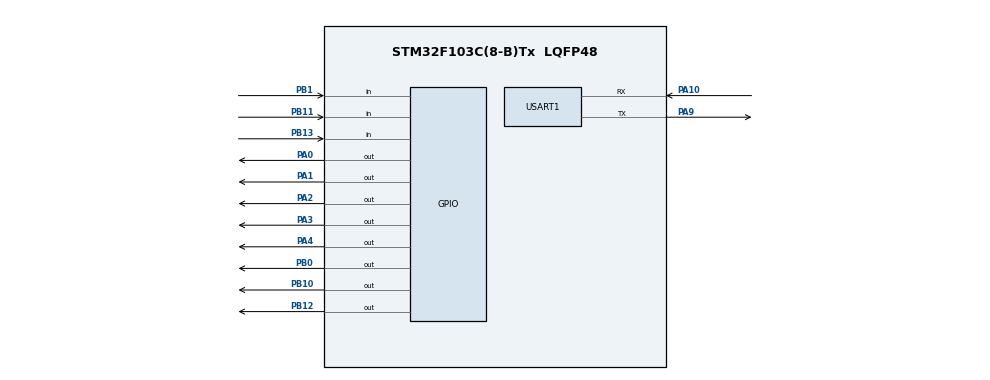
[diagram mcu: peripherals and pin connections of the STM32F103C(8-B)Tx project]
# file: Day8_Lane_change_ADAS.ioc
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Mcu.Family=STM32F1
Mcu.Name=STM32F103C(8-B)Tx
Mcu.Package=LQFP48
NVIC.PriorityGroup=NVIC_PRIORITYGROUP_4
PA0-WKUP.Signal=GPIO_Output
PA1.Signal=GPIO_Output
PA10.Mode=Asynchronous
PA10.Signal=USART1_RX
PA2.Signal=GPIO_Output
PA3.Signal=GPIO_Output
PA4.Signal=GPIO_Output
PA9.Mode=Asynchronous
PA9.Signal=USART1_TX
PB0.Signal=GPIO_Output
PB1.Signal=GPIO_Input
PB10.Signal=GPIO_Output
PB11.Signal=GPIO_Input
PB12.Signal=GPIO_Output
PB13.Signal=GPIO_Input
ProjectManager.HeapSize=0x200
ProjectManager.StackSize=0x400
ProjectManager.TargetToolchain=STM32CubeIDE
RCC.APB1Freq_Value=8000000
RCC.APB2Freq_Value=8000000
TIM2.Prescaler=71
USART1.VirtualMode=VM_ASYNC
VP_SYS_VS_ND.Mode=No_Debug
VP_TIM2_VS_ClockSourceINT.Mode=Internal
board=custom

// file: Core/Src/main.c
/* USER CODE BEGIN Header */
/**
  ******************************************************************************
  * @file           : main.c
  * @brief          : Day8 Lane Change Assist System
  ******************************************************************************
  */
/* USER CODE END Header */

#include "main.h"
#include <stdio.h>
#include <string.h>

TIM_HandleTypeDef htim2;

UART_HandleTypeDef huart1;

/* USER CODE BEGIN PV */

float left_dist;
float right_dist;

char msg[200];

/* USER CODE END PV */

void SystemClock_Config(void);
static void MX_GPIO_Init(void);
static void MX_TIM2_Init(void);
static void MX_USART1_UART_Init(void);

/* USER CODE BEGIN PFP */

float read_distance(GPIO_TypeDef *trigPort,
                    uint16_t trigPin,
                    GPIO_TypeDef *echoPort,
                    uint16_t echoPin);

void delay_us(uint16_t us);

/* USER CODE END PFP */

/* USER CODE BEGIN 0 */

void delay_us(uint16_t us)
{
    __HAL_TIM_SET_COUNTER(&htim2, 0);

    while(__HAL_TIM_GET_COUNTER(&htim2) < us);
}

float read_distance(GPIO_TypeDef *trigPort,
                    uint16_t trigPin,
                    GPIO_TypeDef *echoPort,
                    uint16_t echoPin)
{
    uint32_t time = 0;

    HAL_GPIO_WritePin(trigPort, trigPin, GPIO_PIN_RESET);
    delay_us(2);

    HAL_GPIO_WritePin(trigPort, trigPin, GPIO_PIN_SET);
    delay_us(10);

    HAL_GPIO_WritePin(trigPort, trigPin, GPIO_PIN_RESET);

    while(!(HAL_GPIO_ReadPin(echoPort, echoPin)));

    __HAL_TIM_SET_COUNTER(&htim2, 0);

    while(HAL_GPIO_ReadPin(echoPort, echoPin));

    time = __HAL_TIM_GET_COUNTER(&htim2);

    return time * 0.034 / 2;
}

/* USER CODE END 0 */

/**
  * @brief  Main program
  * @retval int
  */
int main(void)
{
  HAL_Init();

  SystemClock_Config();

  MX_GPIO_Init();
  MX_TIM2_Init();
  MX_USART1_UART_Init();

  /* USER CODE BEGIN 2 */

  HAL_TIM_Base_Start(&htim2);

  /* USER CODE END 2 */

  /* Infinite loop */
  while (1)
  {
      /* RESET LEDs + BUZZER */

      HAL_GPIO_WritePin(GPIOA,
                        GPIO_PIN_0 |
                        GPIO_PIN_1 |
                        GPIO_PIN_2 |
                        GPIO_PIN_3 |
                        GPIO_PIN_4,
                        GPIO_PIN_RESET);

      /* READ LEFT SENSOR */

      left_dist = read_distance(GPIOB,
                                GPIO_PIN_10,
                                GPIOB,
                                GPIO_PIN_11);

      /* READ RIGHT SENSOR */

      right_dist = read_distance(GPIOB,
                                 GPIO_PIN_12,
                                 GPIOB,
                                 GPIO_PIN_13);

      /* BOTH SIDES BLOCKED */

      if(left_dist < 20 && right_dist < 20)
      {
          HAL_GPIO_WritePin(GPIOA,
                            GPIO_PIN_3,
                            GPIO_PIN_SET);

          HAL_GPIO_WritePin(GPIOA,
                            GPIO_PIN_4,
                            GPIO_PIN_SET);

          sprintf(msg,
          "LEFT:%d cm RIGHT:%d cm STATUS:BOTH BLOCKED\r\n",
          (int)left_dist,
          (int)right_dist);
      }

      /* LEFT BLOCKED */

      else if(left_dist < 20)
      {
          HAL_GPIO_WritePin(GPIOA,
                            GPIO_PIN_1,
                            GPIO_PIN_SET);

          HAL_GPIO_WritePin(GPIOA,
                            GPIO_PIN_4,
                            GPIO_PIN_SET);

          sprintf(msg,
          "LEFT:%d cm RIGHT:%d cm STATUS:LEFT BLOCKED\r\n",
          (int)left_dist,
          (int)right_dist);
      }

      /* RIGHT BLOCKED */

      else if(right_dist < 20)
      {
          HAL_GPIO_WritePin(GPIOA,
                            GPIO_PIN_2,
                            GPIO_PIN_SET);

          HAL_GPIO_WritePin(GPIOA,
                            GPIO_PIN_4,
                            GPIO_PIN_SET);

          sprintf(msg,
          "LEFT:%d cm RIGHT:%d cm STATUS:RIGHT BLOCKED\r\n",
          (int)left_dist,
          (int)right_dist);
      }

      /* SAFE */

      else
      {
          HAL_GPIO_WritePin(GPIOA,
                            GPIO_PIN_0,
                            GPIO_PIN_SET);

          sprintf(msg,
          "LEFT:%d cm RIGHT:%d cm STATUS:SAFE LANE CHANGE\r\n",
          (int)left_dist,
          (int)right_dist);
      }

      /* UART TRANSMIT */

      HAL_UART_Transmit(&huart1,
                        (uint8_t*)msg,
                        strlen(msg),
                        HAL_MAX_DELAY);

      HAL_Delay(300);
  }
}

void SystemClock_Config(void)
{
  RCC_OscInitTypeDef RCC_OscInitStruct = {0};
  RCC_ClkInitTypeDef RCC_ClkInitStruct = {0};

  RCC_OscInitStruct.OscillatorType = RCC_OSCILLATORTYPE_HSI;
  RCC_OscInitStruct.HSIState = RCC_HSI_ON;
  RCC_OscInitStruct.HSICalibrationValue = RCC_HSICALIBRATION_DEFAULT;
  RCC_OscInitStruct.PLL.PLLState = RCC_PLL_NONE;

  if (HAL_RCC_OscConfig(&RCC_OscInitStruct) != HAL_OK)
  {
    Error_Handler();
  }

  RCC_ClkInitStruct.ClockType = RCC_CLOCKTYPE_HCLK |
                                RCC_CLOCKTYPE_SYSCLK |
                                RCC_CLOCKTYPE_PCLK1 |
                                RCC_CLOCKTYPE_PCLK2;

  RCC_ClkInitStruct.SYSCLKSource = RCC_SYSCLKSOURCE_HSI;

  RCC_ClkInitStruct.AHBCLKDivider = RCC_SYSCLK_DIV1;

  RCC_ClkInitStruct.APB1CLKDivider = RCC_HCLK_DIV1;

  RCC_ClkInitStruct.APB2CLKDivider = RCC_HCLK_DIV1;

  if (HAL_RCC_ClockConfig(&RCC_ClkInitStruct,
                          FLASH_LATENCY_0) != HAL_OK)
  {
    Error_Handler();
  }
}

static void MX_TIM2_Init(void)
{
  TIM_ClockConfigTypeDef sClockSourceConfig = {0};

  TIM_MasterConfigTypeDef sMasterConfig = {0};

  htim2.Instance = TIM2;

  htim2.Init.Prescaler = 71;

  htim2.Init.CounterMode = TIM_COUNTERMODE_UP;

  htim2.Init.Period = 65535;

  htim2.Init.ClockDivision = TIM_CLOCKDIVISION_DIV1;

  htim2.Init.AutoReloadPreload =
  TIM_AUTORELOAD_PRELOAD_DISABLE;

  if (HAL_TIM_Base_Init(&htim2) != HAL_OK)
  {
    Error_Handler();
  }

  sClockSourceConfig.ClockSource =
  TIM_CLOCKSOURCE_INTERNAL;

  if (HAL_TIM_ConfigClockSource(&htim2,
                                &sClockSourceConfig) != HAL_OK)
  {
    Error_Handler();
  }

  sMasterConfig.MasterOutputTrigger = TIM_TRGO_RESET;

  sMasterConfig.MasterSlaveMode =
  TIM_MASTERSLAVEMODE_DISABLE;

  if (HAL_TIMEx_MasterConfigSynchronization(&htim2,
                                            &sMasterConfig) != HAL_OK)
  {
    Error_Handler();
  }
}

static void MX_USART1_UART_Init(void)
{
  huart1.Instance = USART1;

  huart1.Init.BaudRate = 115200;

  huart1.Init.WordLength = UART_WORDLENGTH_8B;

  huart1.Init.StopBits = UART_STOPBITS_1;

  huart1.Init.Parity = UART_PARITY_NONE;

  huart1.Init.Mode = UART_MODE_TX_RX;

  huart1.Init.HwFlowCtl = UART_HWCONTROL_NONE;

  huart1.Init.OverSampling = UART_OVERSAMPLING_16;

  if (HAL_UART_Init(&huart1) != HAL_OK)
  {
    Error_Handler();
  }
}

static void MX_GPIO_Init(void)
{
  GPIO_InitTypeDef GPIO_InitStruct = {0};

  __HAL_RCC_GPIOA_CLK_ENABLE();
  __HAL_RCC_GPIOB_CLK_ENABLE();

  /* OUTPUT PINS */

  HAL_GPIO_WritePin(GPIOA,
                    GPIO_PIN_0 |
                    GPIO_PIN_1 |
                    GPIO_PIN_2 |
                    GPIO_PIN_3 |
                    GPIO_PIN_4,
                    GPIO_PIN_RESET);

  HAL_GPIO_WritePin(GPIOB,
                    GPIO_PIN_10 |
                    GPIO_PIN_12,
                    GPIO_PIN_RESET);

  /* PA0 PA1 PA2 PA3 PA4 */

  GPIO_InitStruct.Pin = GPIO_PIN_0 |
                        GPIO_PIN_1 |
                        GPIO_PIN_2 |
                        GPIO_PIN_3 |
                        GPIO_PIN_4;

  GPIO_InitStruct.Mode = GPIO_MODE_OUTPUT_PP;

  GPIO_InitStruct.Pull = GPIO_NOPULL;

  GPIO_InitStruct.Speed = GPIO_SPEED_FREQ_LOW;

  HAL_GPIO_Init(GPIOA, &GPIO_InitStruct);

  /* PB10 PB12 */

  GPIO_InitStruct.Pin = GPIO_PIN_10 |
                        GPIO_PIN_12;

  GPIO_InitStruct.Mode = GPIO_MODE_OUTPUT_PP;

  HAL_GPIO_Init(GPIOB, &GPIO_InitStruct);

  /* INPUT PINS PB11 PB13 */

  GPIO_InitStruct.Pin = GPIO_PIN_11 |
                        GPIO_PIN_13;

  GPIO_InitStruct.Mode = GPIO_MODE_INPUT;

  GPIO_InitStruct.Pull = GPIO_NOPULL;

  HAL_GPIO_Init(GPIOB, &GPIO_InitStruct);
}

/**
  * @brief Error Handler
  * @retval None
  */
void Error_Handler(void)
{
  __disable_irq();

  while (1)
  {
  }
}
